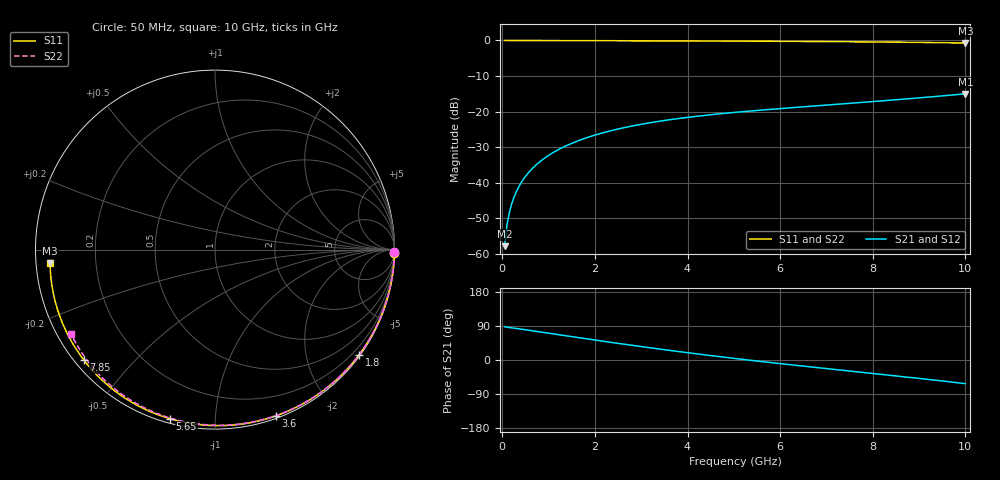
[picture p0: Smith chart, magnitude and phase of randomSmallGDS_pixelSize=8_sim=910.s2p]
! freq	dB(S11)	phase(S11)	dB(S12)	phase(S12)
!  dB(S21)	phase(S21)	dB(S22)	phase(S22)
!S-par simulation data
#  GHz  S  DB  R 50
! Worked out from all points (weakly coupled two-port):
!   200 points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, 50 MHz to 10 GHz, reference 50 ohm
!   highest |S21| = -15.00 dB at 10 GHz (marker M1); lowest = -57.8 dB at 50 MHz (marker M2)
!   lowest |S11| = -0.7 dB at 10 GHz (marker M3), VSWR 24.65, Z = 2.03 - j2.07 ohm
!   |S11| at or under -10 dB: nowhere
!   |S22| runs from -0.6 to 0.0 dB; largest |S21 - S12| = 0
!   S11 on the Smith chart (normalised r, x): 50 MHz: open; 1.8 GHz: 0.03, -3.07; 3.6 GHz: 0.02, -1.43; 5.65 GHz: 0.02, -0.77; 7.85 GHz: 0.03, -0.36; 10 GHz: 0.04, -0.04
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0.05  -0.00 -1.0  -57.80 87.9  -57.80 87.9  -0.00 -0.9
0.1  -0.00 -2.0  -51.91 86.6  -51.91 86.6  -0.00 -1.8
0.15  -0.00 -3.1  -48.48 85.7  -48.48 85.7  -0.00 -2.7
0.2  -0.00 -4.1  -46.04 84.9  -46.04 84.9  -0.00 -3.5
0.35  -0.01 -7.1  -41.26 82.5  -41.26 82.5  -0.00 -6.2
0.5  -0.01 -10.2  -38.20 79.9  -38.20 79.9  -0.01 -8.8
0.7  -0.02 -14.2  -35.32 76.3  -35.32 76.3  -0.01 -12.3
1  -0.03 -20.3  -32.28 70.8  -32.28 70.8  -0.02 -17.5
1.35  -0.04 -27.2  -29.77 64.4  -29.77 64.4  -0.03 -23.5
1.75  -0.05 -35.1  -27.66 57.1  -27.66 57.1  -0.05 -30.4
1.8  -0.05 -36.0  -27.43 56.2  -27.43 56.2  -0.05 -31.2
2.6  -0.08 -51.4  -24.59 42.2  -24.59 42.2  -0.07 -44.6
3.4  -0.11 -66.2  -22.68 28.8  -22.68 28.8  -0.10 -57.5
3.6  -0.12 -69.8  -22.30 25.6  -22.30 25.6  -0.11 -60.6
4.3  -0.15 -82.1  -21.15 14.7  -21.15 14.7  -0.13 -71.5
5.05  -0.18 -94.9  -20.18 3.6  -20.18 3.6  -0.16 -82.7
5.65  -0.22 -104.8  -19.51 -4.8  -19.51 -4.8  -0.19 -91.3
6.7  -0.29 -121.7  -18.46 -18.8  -18.46 -18.8  -0.26 -106.0
7.85  -0.40 -140.0  -17.34 -33.5  -17.34 -33.5  -0.36 -121.4
8.35  -0.45 -147.9  -16.83 -40.0  -16.83 -40.0  -0.41 -128.0
9.2  -0.57 -161.7  -15.92 -51.2  -15.92 -51.2  -0.51 -139.2
10  -0.70 -175.3  -15.00 -62.4  -15.00 -62.4  -0.64 -149.7
